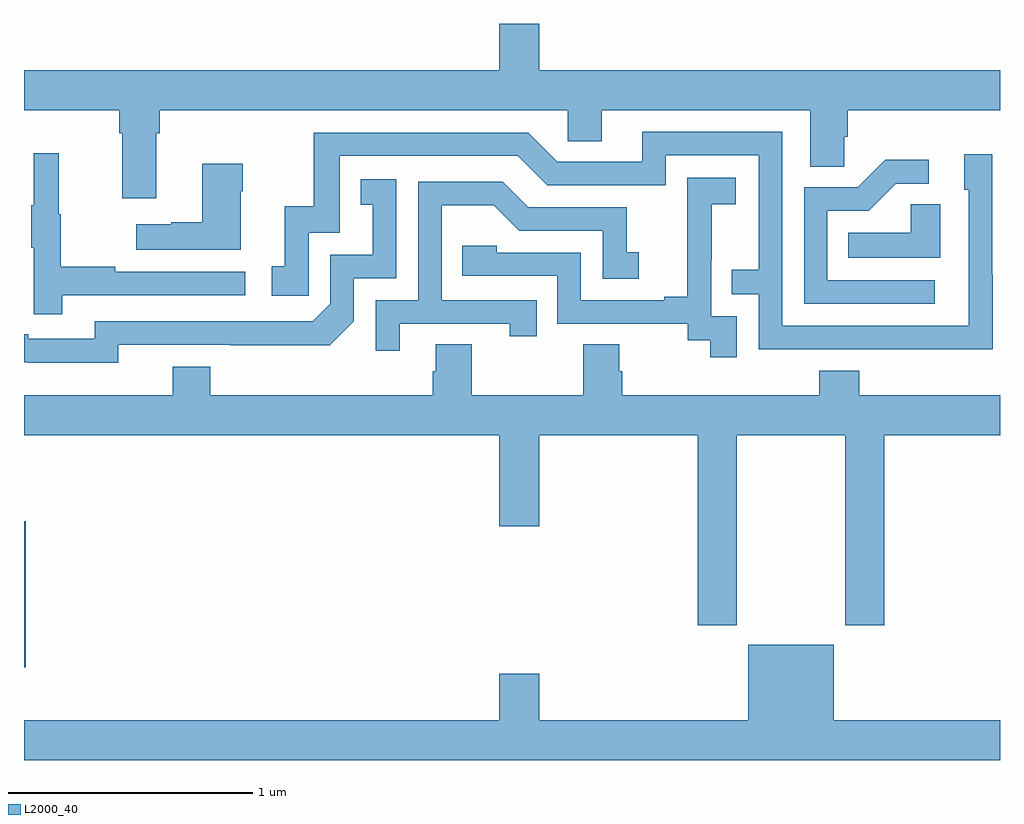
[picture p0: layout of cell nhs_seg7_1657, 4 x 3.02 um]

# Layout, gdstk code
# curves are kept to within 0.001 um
import gdstk
lib = gdstk.Library(unit=1e-6, precision=1e-09)
def R(c, l, rs):  # rectangles x0, y0, x1, y1
    for r in rs: c.add(gdstk.rectangle(r[:2], r[2:], *l))
def P(c, l, *ps):  # polygons
    for p in ps: c.add(gdstk.Polygon(p, *l))
L2000_40 = (2000, 40)

nhs_seg7_1657 = lib.new_cell('nhs_seg7_1657')
R(nhs_seg7_1657, L2000_40, [(223,1040.957,223.007,1041.554)])
P(nhs_seg7_1657, L2000_40, [(223.543,1043.144),(223.556,1043.144),(223.556,1043.24),(225.228,1043.24),(225.228,1043.113),(225.367,1043.113),(225.367,1043.24),(226.223,1043.24),(226.223,1043.008),(226.362,1043.008),(226.362,1043.131),(226.376,1043.131),(226.376,1043.24),(227,1043.24),(227,1043.404),(225.112,1043.404),(225.112,1043.593),(224.948,1043.593),(224.948,1043.404),(223,1043.404),(223,1043.24),(223.391,1043.24),(223.391,1043.144),(223.403,1043.144),(223.403,1042.878),(223.543,1042.878)],
  [(226.971,1042.565),(226.968,1042.565),(226.968,1043.059),(226.853,1043.059),(226.853,1042.914),(226.872,1042.914),(226.872,1042.356),(226.107,1042.356),(226.107,1043.151),(225.533,1043.151),(225.533,1043.028),(225.186,1043.028),(225.066,1043.148),(224.187,1043.148),(224.187,1042.846),(224.069,1042.846),(224.069,1042.599),(224.016,1042.599),(224.016,1042.478),(224.166,1042.478),(224.166,1042.737),(224.295,1042.737),(224.295,1043.052),(225.024,1043.052),(225.144,1042.932),(225.63,1042.932),(225.63,1043.055),(226.011,1043.055),(226.011,1042.586),(225.901,1042.586),(225.901,1042.485),(226.011,1042.485),(226.011,1042.26),(226.971,1042.259)],
  [(223.157,1042.482),(223.906,1042.482),(223.906,1042.578),(223.373,1042.578),(223.373,1042.598),(223.15,1042.598),(223.15,1042.812),(223.142,1042.812),(223.142,1043.062),(223.04,1043.062),(223.04,1042.849),(223.029,1042.849),(223.029,1042.675),(223.04,1042.675),(223.04,1042.404),(223.157,1042.404)],
  [(226.732,1042.542),(226.293,1042.542),(226.293,1042.827),(226.462,1042.827),(226.573,1042.938),(226.708,1042.938),(226.708,1043.036),(226.529,1043.036),(226.416,1042.923),(226.197,1042.923),(226.197,1042.446),(226.732,1042.446)],
  [(223.888,1042.907),(223.896,1042.907),(223.896,1043.02),(223.73,1043.02),(223.73,1042.781),(223.604,1042.781),(223.604,1042.771),(223.461,1042.771),(223.461,1042.667),(223.888,1042.667)],
  [(225.921,1042.395),(225.816,1042.395),(225.816,1042.625),(225.818,1042.625),(225.818,1042.853),(225.916,1042.853),(225.916,1042.963),(225.718,1042.963),(225.718,1042.757),(225.719,1042.757),(225.719,1042.474),(225.623,1042.474),(225.623,1042.461),(225.282,1042.461),(225.282,1042.656),(224.937,1042.656),(224.937,1042.683),(224.797,1042.683),(224.797,1042.56),(225.186,1042.56),(225.186,1042.365),(225.72,1042.365),(225.72,1042.297),(225.813,1042.297),(225.813,1042.227),(225.921,1042.227)],
  [(223.386,1042.278),(224.254,1042.277),(224.352,1042.374),(224.352,1042.551),(224.526,1042.551),(224.526,1042.957),(224.38,1042.957),(224.38,1042.851),(224.429,1042.851),(224.429,1042.647),(224.256,1042.647),(224.256,1042.446),(224.184,1042.374),(223.29,1042.374),(223.29,1042.302),(223.018,1042.302),(223.018,1042.322),(223,1042.322),(223,1042.206),(223.386,1042.205)],
  [(224.539,1042.365),(224.99,1042.365),(224.99,1042.314),(225.101,1042.314),(225.101,1042.461),(224.712,1042.461),(224.712,1042.85),(224.926,1042.85),(225.03,1042.746),(225.372,1042.746),(225.372,1042.548),(225.52,1042.548),(225.52,1042.657),(225.471,1042.657),(225.471,1042.842),(225.067,1042.842),(224.962,1042.947),(224.616,1042.947),(224.616,1042.461),(224.442,1042.461),(224.442,1042.254),(224.539,1042.254)],
  [(226.756,1042.853),(226.635,1042.853),(226.635,1042.738),(226.378,1042.738),(226.378,1042.634),(226.756,1042.634)],
  [(225.921,1041.908),(226.366,1041.908),(226.366,1041.129),(226.526,1041.129),(226.526,1041.908),(227,1041.908),(227,1042.072),(226.424,1042.072),(226.424,1042.171),(226.259,1042.171),(226.259,1042.072),(225.452,1042.072),(225.452,1042.17),(225.439,1042.17),(225.439,1042.28),(225.292,1042.28),(225.292,1042.072),(224.835,1042.072),(224.835,1042.28),(224.687,1042.28),(224.687,1042.17),(224.675,1042.17),(224.675,1042.072),(223.763,1042.072),(223.763,1042.189),(223.61,1042.189),(223.61,1042.072),(223,1042.072),(223,1041.908),(224.948,1041.908),(224.948,1041.534),(225.112,1041.534),(225.112,1041.908),(225.761,1041.908),(225.761,1041.129),(225.921,1041.129)],
  [(227,1040.74),(226.318,1040.74),(226.318,1041.049),(225.968,1041.049),(225.968,1040.74),(225.112,1040.74),(225.112,1040.929),(224.948,1040.929),(224.948,1040.74),(223,1040.74),(223,1040.576),(227,1040.576)])

lib.write_gds('nhs_seg7_1657.gds')
